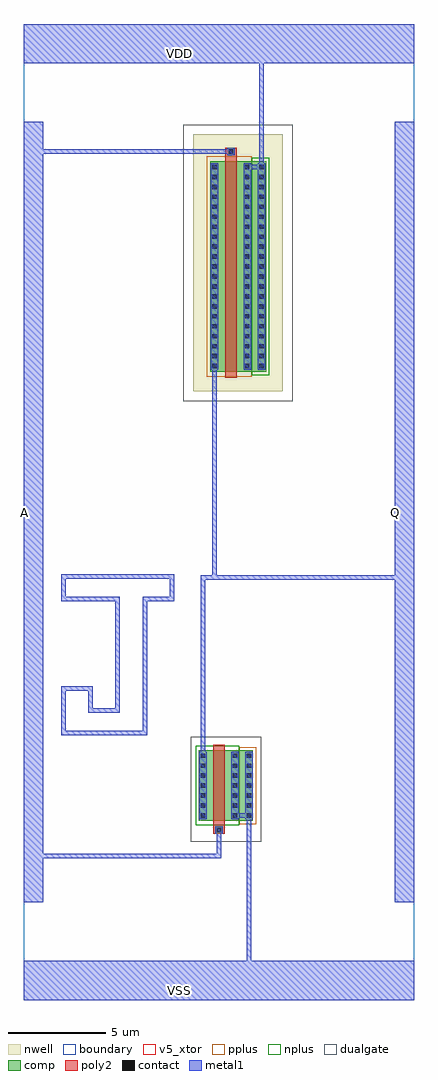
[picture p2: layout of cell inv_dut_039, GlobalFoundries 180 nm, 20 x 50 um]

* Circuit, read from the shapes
.subckt inv_dut_039 A Q VDD VSS
XM1 VSS A Q VSS nfet_05v0 w=3.6u l=0.6u
XM2 VDD A Q VDD pfet_05v0 w=10.8u l=0.6u
.ends

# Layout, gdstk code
import gdstk
lib = gdstk.Library(unit=1e-6, precision=1e-09)
def R(c, l, rs):  # rectangles x0, y0, x1, y1
    for r in rs: c.add(gdstk.rectangle(r[:2], r[2:], *l))
def A(c, l, x, y, w, h, nx, ny, dx, dy):  # array of equal rectangles
    R(c, l, [(x+i*dx, y+j*dy, x+i*dx+w, y+j*dy+h) for i in range(nx) for j in range(ny)])
boundary = (0, 0)
nwell = (21, 0)
comp = (22, 0)
poly2 = (30, 0)
pplus = (31, 0)
nplus = (32, 0)
contact = (33, 0)
metal1 = (34, 0)
dualgate = (55, 0)
v5_xtor = (112, 1)

nfet_42 = lib.new_cell('nfet$42')
R(nfet_42, comp, [(-0.42,0,2.35,3.6)])
R(nfet_42, poly2, [(0.31,-0.3,0.91,4.26)])
R(nfet_42, pplus, [(1.64,-0.17,2.52,3.77)])
R(nfet_42, nplus, [(-0.59,-0.24,1.64,3.84)])
A(nfet_42, contact, -0.32, 0.16, 0.22, 0.22, 1, 7, 0, 0.51)
A(nfet_42, contact, 1.32, 0.16, 0.22, 0.22, 1, 7, 0, 0.51)
A(nfet_42, contact, 2.03, 0.16, 0.22, 0.22, 1, 7, 0, 0.51)
R(nfet_42, contact, [(0.5,3.97,0.72,4.19)])
R(nfet_42, metal1, [(-0.4,0.08,-0.02,3.52), (1.24,0.08,1.62,3.52), (1.95,0.08,2.33,3.52), (0.42,3.89,0.8,4.27)])
R(nfet_42, dualgate, [(-0.84,-0.71,2.77,4.68)])
R(nfet_42, v5_xtor, [(-0.84,-0.71,2.77,4.68)])

pfet_40 = lib.new_cell('pfet$40')
R(pfet_40, nwell, [(-1.32,-0.99,3.27,12.17)])
R(pfet_40, comp, [(-0.46,0,2.41,10.8)])
R(pfet_40, poly2, [(0.31,-0.3,0.91,11.48)])
R(pfet_40, pplus, [(-0.63,-0.24,1.68,11.04)])
R(pfet_40, nplus, [(1.68,-0.17,2.58,10.97)])
A(pfet_40, contact, -0.34, 0.19, 0.22, 0.22, 1, 21, 0, 0.51)
A(pfet_40, contact, 1.34, 0.19, 0.22, 0.22, 1, 21, 0, 0.51)
A(pfet_40, contact, 2.07, 0.19, 0.22, 0.22, 1, 21, 0, 0.51)
R(pfet_40, contact, [(0.5,11.18,0.72,11.4)])
R(pfet_40, metal1, [(-0.42,0.11,-0.04,10.69), (1.26,0.11,1.64,10.69), (1.99,0.11,2.37,10.69), (0.42,11.1,0.8,11.48)])
R(pfet_40, dualgate, [(-1.82,-1.49,3.77,12.67)])
R(pfet_40, v5_xtor, [(-1.82,-1.49,3.77,12.67)])

inv_dut_039 = lib.new_cell('inv_dut_039')
R(inv_dut_039, boundary, [(-10,-25,10,25)])
R(inv_dut_039, metal1, [(-10,-25,10,-23), (-10,-20,-9,20), (9,-20,10,20), (-10,23,10,25)])
inv_dut_039.add(gdstk.FlexPath([(-0.82,-12.555),(-0.82,-3.355),(-0.345,-3.355)], 0.23, ends="flush", simple_path=True, layer=34, datatype=0))  # metal1
inv_dut_039.add(gdstk.FlexPath([(-7.97,-3.31),(-2.41,-3.31),(-2.41,-4.455),(-3.8,-4.455),(-3.8,-11.325),(-7.97,-11.325),(-7.97,-9.035),(-6.58,-9.035),(-6.58,-10.18),(-5.19,-10.18),(-5.19,-4.455),(-7.97,-4.455),(-7.97,-3.31),(-7.97,-3.195),(-7.97,-3.195),(-7.97,-3.195)], 0.23, ends="flush", simple_path=True, layer=34, datatype=0))  # metal1
inv_dut_039.add(gdstk.FlexPath([(0.72,18.465),(-9.15,18.465),(-9.15,18.47)], 0.23, ends="flush", simple_path=True, layer=34, datatype=0))  # metal1
inv_dut_039.add(gdstk.FlexPath([(2.18,17.565),(2.18,23.475),(2.175,23.475)], 0.23, ends="flush", simple_path=True, layer=34, datatype=0))  # metal1
inv_dut_039.add(gdstk.FlexPath([(1.34,17.675),(2.29,17.675)], 0.23, ends="flush", simple_path=True, layer=34, datatype=0))  # metal1
inv_dut_039.add(gdstk.FlexPath([(-0.23,7.585),(-0.23,-3.355),(9.46,-3.355)], 0.23, ends="flush", simple_path=True, layer=34, datatype=0))  # metal1
inv_dut_039.add(gdstk.FlexPath([(0,-16.185),(0,-17.63),(-9.29,-17.63)], 0.23, ends="flush", simple_path=True, layer=34, datatype=0))  # metal1
inv_dut_039.add(gdstk.FlexPath([(0.71,-15.545),(1.525,-15.545),(1.525,-23.255)], 0.23, ends="flush", simple_path=True, layer=34, datatype=0))  # metal1
inv_dut_039.add(gdstk.Reference(nfet_42, (-0.61,-12.215), x_reflection=True))
inv_dut_039.add(gdstk.Reference(pfet_40, (0,7.175)))
inv_dut_039.add(gdstk.Label('VDD', (-2,23.5), layer=34, texttype=10))
inv_dut_039.add(gdstk.Label('VSS', (-2,-24.5), layer=34, texttype=10))
inv_dut_039.add(gdstk.Label('A', (-9.97,0), layer=34, texttype=10))
inv_dut_039.add(gdstk.Label('Q', (9.03,0), layer=34, texttype=10))

lib.write_gds('inv_dut_039.gds')
